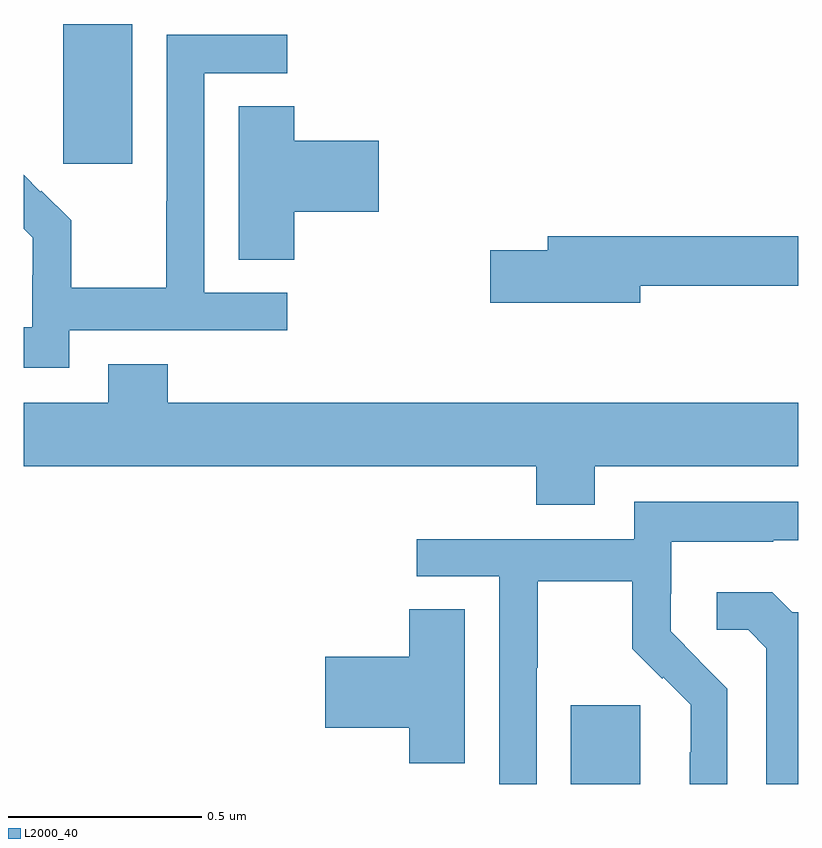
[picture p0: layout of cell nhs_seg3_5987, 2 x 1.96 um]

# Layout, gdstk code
import gdstk
lib = gdstk.Library(unit=1e-6, precision=1e-09)
def R(c, l, rs):  # rectangles x0, y0, x1, y1
    for r in rs: c.add(gdstk.rectangle(r[:2], r[2:], *l))
def P(c, l, *ps):  # polygons
    for p in ps: c.add(gdstk.Polygon(p, *l))
L2000_40 = (2000, 40)

nhs_seg3_5987 = lib.new_cell('nhs_seg3_5987')
R(nhs_seg3_5987, L2000_40, [(186.413,729.4,186.592,729.603), (185.102,731.001,185.281,731.362)])
P(nhs_seg3_5987, L2000_40, [(185.118,730.572),(185.68,730.572),(185.68,730.668),(185.466,730.668),(185.466,731.235),(185.68,731.235),(185.68,731.334),(185.37,731.334),(185.37,730.904),(185.368,730.904),(185.368,730.681),(185.123,730.681),(185.123,730.855),(185.046,730.932),(185.043,730.929),(185,730.973),(185,730.834),(185.024,730.81),(185.024,730.713),(185.022,730.713),(185.022,730.579),(185,730.579),(185,730.475),(185.118,730.475)],
  [(185.699,730.877),(185.917,730.877),(185.917,731.06),(185.699,731.06),(185.699,731.15),(185.555,731.15),(185.555,730.753),(185.699,730.753)],
  [(186.592,730.686),(187,730.686),(187,730.814),(186.353,730.814),(186.353,730.778),(186.204,730.778),(186.204,730.643),(186.592,730.643)],
  [(186.475,730.22),(187,730.22),(187,730.384),(185.372,730.384),(185.372,730.483),(185.219,730.483),(185.219,730.384),(185,730.384),(185,730.22),(186.323,730.22),(186.323,730.121),(186.475,730.121)],
  [(186.324,729.7),(186.327,729.7),(186.327,729.924),(186.571,729.924),(186.571,729.749),(186.648,729.672),(186.651,729.675),(186.722,729.605),(186.722,729.482),(186.72,729.482),(186.72,729.4),(186.816,729.4),(186.816,729.646),(186.743,729.719),(186.744,729.72),(186.67,729.794),(186.67,729.891),(186.672,729.891),(186.672,730.025),(186.935,730.025),(186.935,730.029),(187,730.029),(187,730.129),(186.576,730.129),(186.576,730.032),(186.015,730.032),(186.015,729.936),(186.228,729.936),(186.228,729.4),(186.324,729.4)],
  [(187,729.843),(186.984,729.843),(186.932,729.895),(186.789,729.895),(186.789,729.798),(186.87,729.798),(186.917,729.751),(186.917,729.4),(187,729.4)],
  [(186.139,729.851),(185.996,729.851),(185.996,729.728),(185.778,729.728),(185.778,729.545),(185.996,729.545),(185.996,729.454),(186.139,729.454)])

lib.write_gds('nhs_seg3_5987.gds')
